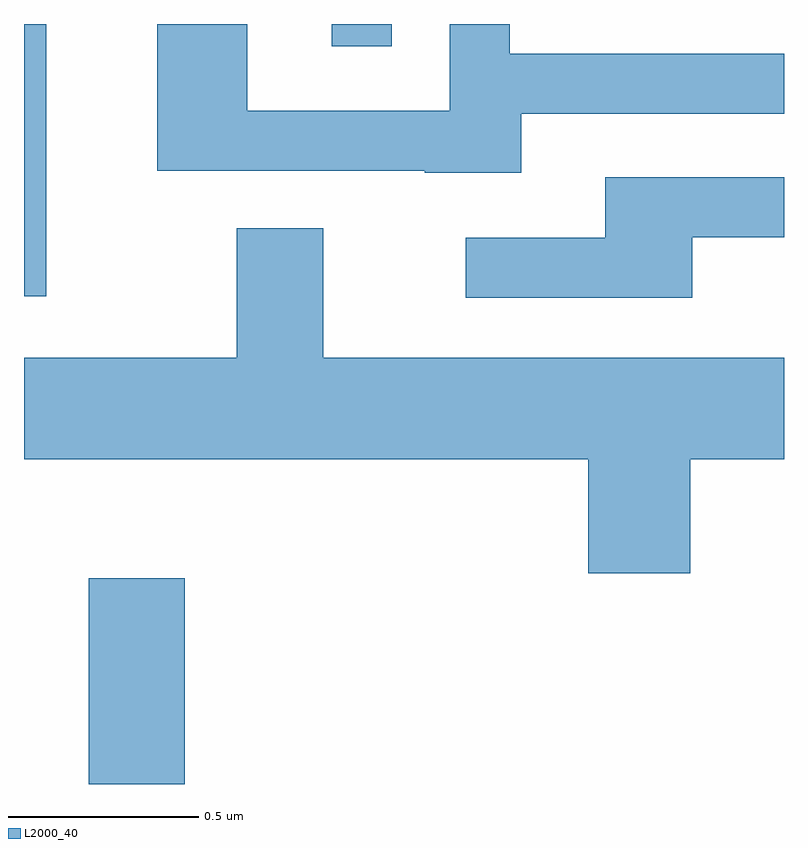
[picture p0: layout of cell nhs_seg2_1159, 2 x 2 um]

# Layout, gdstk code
import gdstk
lib = gdstk.Library(unit=1e-6, precision=1e-09)
def R(c, l, rs):  # rectangles x0, y0, x1, y1
    for r in rs: c.add(gdstk.rectangle(r[:2], r[2:], *l))
def P(c, l, *ps):  # polygons
    for p in ps: c.add(gdstk.Polygon(p, *l))
L2000_40 = (2000, 40)

nhs_seg2_1159 = lib.new_cell('nhs_seg2_1159')
R(nhs_seg2_1159, L2000_40, [(193.781,1040.802,194.034,1041.344), (193.611,1042.086,193.669,1042.802), (194.421,1042.743,194.579,1042.802)])
P(nhs_seg2_1159, L2000_40, [(194.919,1042.566),(195.611,1042.566),(195.611,1042.724),(194.889,1042.724),(194.889,1042.802),(194.731,1042.802),(194.731,1042.574),(194.199,1042.574),(194.199,1042.802),(193.961,1042.802),(193.961,1042.416),(194.665,1042.416),(194.665,1042.411),(194.919,1042.411)],
  [(195.369,1042.241),(195.611,1042.241),(195.611,1042.399),(195.141,1042.399),(195.141,1042.239),(194.773,1042.239),(194.773,1042.081),(195.369,1042.081)],
  [(195.364,1041.656),(195.611,1041.656),(195.611,1041.924),(194.399,1041.924),(194.399,1042.264),(194.171,1042.264),(194.171,1041.924),(193.611,1041.924),(193.611,1041.656),(195.096,1041.656),(195.096,1041.356),(195.364,1041.356)])

lib.write_gds('nhs_seg2_1159.gds')
